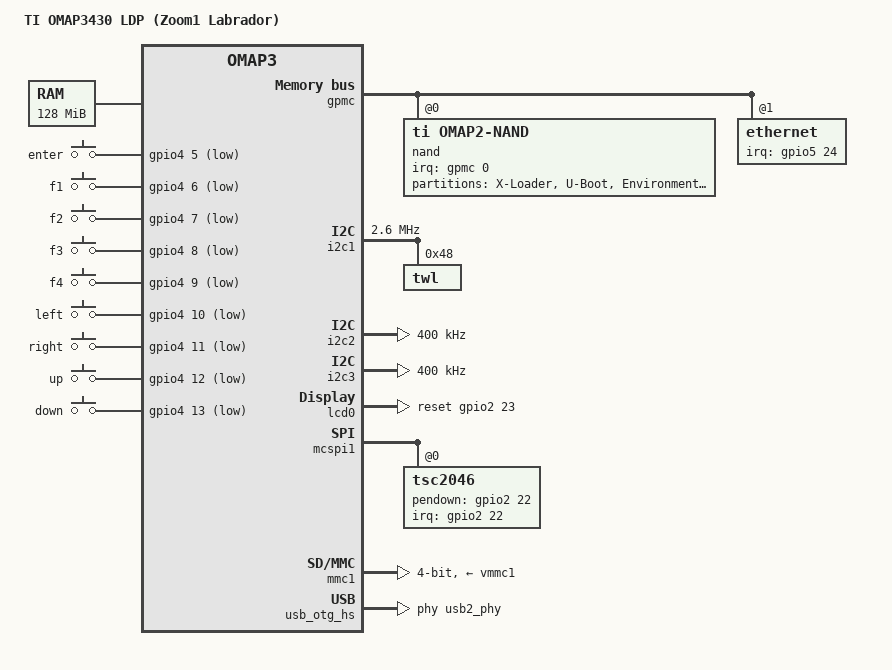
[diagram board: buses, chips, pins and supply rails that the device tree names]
// SPDX-License-Identifier: GPL-2.0-only
/*
 * Copyright (C) 2013 Texas Instruments Incorporated - https://www.ti.com/
 */
/dts-v1/;

#include <dt-bindings/input/input.h>
#include "omap34xx.dtsi"
#include "omap-gpmc-smsc911x.dtsi"

/ {
	model = "TI OMAP3430 LDP (Zoom1 Labrador)";
	compatible = "ti,omap3-ldp", "ti,omap3430", "ti,omap3";

	memory@80000000 {
		device_type = "memory";
		reg = <0x80000000 0x8000000>; /* 128 MB */
	};

	cpus {
		cpu@0 {
			cpu0-supply = <&vcc>;
		};
	};

	gpio_keys {
		compatible = "gpio-keys";
		pinctrl-names = "default";
		pinctrl-0 = <&gpio_key_pins>;

		key_enter {
			label = "enter";
			gpios = <&gpio4 5 GPIO_ACTIVE_LOW>; /* gpio101 */
			linux,code = <KEY_ENTER>;
			wakeup-source;
		};

		key_f1 {
			label = "f1";
			gpios = <&gpio4 6 GPIO_ACTIVE_LOW>; /* gpio102 */
			linux,code = <KEY_F1>;
			wakeup-source;
		};

		key_f2 {
			label = "f2";
			gpios = <&gpio4 7 GPIO_ACTIVE_LOW>; /* gpio103 */
			linux,code = <KEY_F2>;
			wakeup-source;
		};

		key_f3 {
			label = "f3";
			gpios = <&gpio4 8 GPIO_ACTIVE_LOW>; /* gpio104 */
			linux,code = <KEY_F3>;
			wakeup-source;
		};

		key_f4 {
			label = "f4";
			gpios = <&gpio4 9 GPIO_ACTIVE_LOW>; /* gpio105 */
			linux,code = <KEY_F4>;
			wakeup-source;
		};

		key_left {
			label = "left";
			gpios = <&gpio4 10 GPIO_ACTIVE_LOW>; /* gpio106 */
			linux,code = <KEY_LEFT>;
			wakeup-source;
		};

		key_right {
			label = "right";
			gpios = <&gpio4 11 GPIO_ACTIVE_LOW>; /* gpio107 */
			linux,code = <KEY_RIGHT>;
			wakeup-source;
		};

		key_up {
			label = "up";
			gpios = <&gpio4 12 GPIO_ACTIVE_LOW>; /* gpio108 */
			linux,code = <KEY_UP>;
			wakeup-source;
		};

		key_down {
			label = "down";
			gpios = <&gpio4 13 GPIO_ACTIVE_LOW>; /* gpio109 */
			linux,code = <KEY_DOWN>;
			wakeup-source;
		};
	};
};

&gpmc {
	ranges = <0 0 0x30000000 0x1000000>,	/* CS0 space, 16MB */
		 <1 0 0x08000000 0x1000000>;	/* CS1 space, 16MB */

	nand@0,0 {
		compatible = "ti,omap2-nand";
		reg = <0 0 4>; /* CS0, offset 0, IO size 4 */
		interrupt-parent = <&gpmc>;
		interrupts = <0 IRQ_TYPE_NONE>, /* fifoevent */
			     <1 IRQ_TYPE_NONE>;	/* termcount */
		linux,mtd-name = "micron,nand";
		nand-bus-width = <16>;
		gpmc,device-width = <2>;
		ti,nand-ecc-opt = "bch8";

		gpmc,sync-clk-ps = <0>;
		gpmc,cs-on-ns = <0>;
		gpmc,cs-rd-off-ns = <44>;
		gpmc,cs-wr-off-ns = <44>;
		gpmc,adv-on-ns = <6>;
		gpmc,adv-rd-off-ns = <34>;
		gpmc,adv-wr-off-ns = <44>;
		gpmc,we-off-ns = <40>;
		gpmc,oe-off-ns = <54>;
		gpmc,access-ns = <64>;
		gpmc,rd-cycle-ns = <82>;
		gpmc,wr-cycle-ns = <82>;
		gpmc,wr-access-ns = <40>;
		gpmc,wr-data-mux-bus-ns = <0>;

		#address-cells = <1>;
		#size-cells = <1>;

		partition@0 {
			label = "X-Loader";
			reg = <0 0x80000>;
		};
		partition@80000 {
			label = "U-Boot";
			reg = <0x80000 0x140000>;
		};
		partition@1c0000 {
			label = "Environment";
			reg = <0x1c0000 0x40000>;
		};
		partition@200000 {
			label = "Kernel";
			reg = <0x200000 0x1e00000>;
		};
		partition@2000000 {
			label = "Filesystem";
			reg = <0x2000000 0x6000000>;
		};
	};

	ethernet@gpmc {
		interrupt-parent = <&gpio5>;
		interrupts = <24 IRQ_TYPE_LEVEL_LOW>;
		reg = <1 0 0xff>;
	};
};

&i2c1 {
	clock-frequency = <2600000>;

	twl: twl@48 {
		reg = <0x48>;
		interrupts = <7>; /* SYS_NIRQ cascaded to intc */
		interrupt-parent = <&intc>;

		twl_power: power {
			compatible = "ti,twl4030-power-idle";
			ti,use_poweroff;
		};
	};
};

#include "twl4030.dtsi"
#include "twl4030_omap3.dtsi"
#include "omap3-panel-sharp-ls037v7dw01.dtsi"

&backlight0 {
	gpios = <&twl_gpio 7 GPIO_ACTIVE_HIGH>;
};

&i2c2 {
	clock-frequency = <400000>;
};

&i2c3 {
	clock-frequency = <400000>;
};

/* tps61130rsa enabled by twl4030 regen */
&lcd_3v3 {
	regulator-always-on;
};

&lcd0 {
	enable-gpios = <&twl_gpio 15 GPIO_ACTIVE_HIGH>;	/* lcd INI */
	reset-gpios = <&gpio2 23 GPIO_ACTIVE_HIGH>;	/* gpio55, lcd RESB */
	mode-gpios = <&gpio2 24 GPIO_ACTIVE_HIGH>;	/* gpio56, lcd MO */
};

&mcspi1 {
	tsc2046@0 {
		interrupt-parent = <&gpio2>;
		interrupts = <22 0>;		/* gpio54 */
		pendown-gpio = <&gpio2 22 GPIO_ACTIVE_HIGH>;
	};
};

&mmc1 {
	/* See 35xx errata 2.1.1.128 in SPRZ278F */
	compatible = "ti,omap3-pre-es3-hsmmc";
	vmmc-supply = <&vmmc1>;
	bus-width = <4>;
	pinctrl-names = "default";
	pinctrl-0 = <&mmc1_pins>;
};

&mmc2 {
	status = "disabled";
};

&mmc3 {
	status = "disabled";
};

&omap3_pmx_core {
	gpio_key_pins: gpio-key-pins {
		pinctrl-single,pins = <
			OMAP3_CORE1_IOPAD(0x211a, PIN_INPUT | MUX_MODE4)	/* cam_d2.gpio_101 */
			OMAP3_CORE1_IOPAD(0x211c, PIN_INPUT | MUX_MODE4)	/* cam_d3.gpio_102 */
			OMAP3_CORE1_IOPAD(0x211e, PIN_INPUT | MUX_MODE4)	/* cam_d4.gpio_103 */
			OMAP3_CORE1_IOPAD(0x2120, PIN_INPUT | MUX_MODE4)	/* cam_d5.gpio_104 */
			OMAP3_CORE1_IOPAD(0x2122, PIN_INPUT | MUX_MODE4)	/* cam_d6.gpio_105 */
			OMAP3_CORE1_IOPAD(0x2124, PIN_INPUT | MUX_MODE4)	/* cam_d7.gpio_106 */
			OMAP3_CORE1_IOPAD(0x2126, PIN_INPUT | MUX_MODE4)	/* cam_d8.gpio_107 */
			OMAP3_CORE1_IOPAD(0x2128, PIN_INPUT | MUX_MODE4)	/* cam_d9.gpio_108 */
			OMAP3_CORE1_IOPAD(0x212a, PIN_INPUT | MUX_MODE4)	/* cam_d10.gpio_109 */
		>;
	};

	musb_pins: musb-pins {
		pinctrl-single,pins = <
			OMAP3_CORE1_IOPAD(0x21a2, PIN_INPUT | MUX_MODE0)	/* hsusb0_clk.hsusb0_clk */
			OMAP3_CORE1_IOPAD(0x21aa, PIN_INPUT | MUX_MODE0)	/* hsusb0_data0.hsusb0_data0 */
			OMAP3_CORE1_IOPAD(0x21ac, PIN_INPUT | MUX_MODE0)	/* hsusb0_data1.hsusb0_data1 */
			OMAP3_CORE1_IOPAD(0x21ae, PIN_INPUT | MUX_MODE0)	/* hsusb0_data2.hsusb0_data2 */
			OMAP3_CORE1_IOPAD(0x21b0, PIN_INPUT | MUX_MODE0)	/* hsusb0_data3.hsusb0_data3 */
			OMAP3_CORE1_IOPAD(0x21b2, PIN_INPUT | MUX_MODE0)	/* hsusb0_data4.hsusb0_data4 */
			OMAP3_CORE1_IOPAD(0x21b4, PIN_INPUT | MUX_MODE0)	/* hsusb0_data5.hsusb0_data5 */
			OMAP3_CORE1_IOPAD(0x21b6, PIN_INPUT | MUX_MODE0)	/* hsusb0_data6.hsusb0_data6 */
			OMAP3_CORE1_IOPAD(0x21b8, PIN_INPUT | MUX_MODE0)	/* hsusb0_data7.hsusb0_data7 */
			OMAP3_CORE1_IOPAD(0x21a6, PIN_INPUT | MUX_MODE0)	/* hsusb0_dir.hsusb0_dir */
			OMAP3_CORE1_IOPAD(0x21a8, PIN_INPUT | MUX_MODE0)	/* hsusb0_nxt.hsusb0_nxt */
			OMAP3_CORE1_IOPAD(0x21a4, PIN_OUTPUT | MUX_MODE0)	/* hsusb0_stp.hsusb0_stp */
		>;
	};

	mmc1_pins: mmc1-pins {
		pinctrl-single,pins = <
			OMAP3_CORE1_IOPAD(0x2144, PIN_INPUT_PULLUP | MUX_MODE0)	/* mmc1_clk.mmc1_clk */
			OMAP3_CORE1_IOPAD(0x2146, PIN_INPUT_PULLUP | MUX_MODE0)	/* mmc1_cmd.mmc1_cmd */
			OMAP3_CORE1_IOPAD(0x2148, PIN_INPUT_PULLUP | MUX_MODE0)	/* mmc1_dat0.mmc1_dat0 */
			OMAP3_CORE1_IOPAD(0x214A, PIN_INPUT_PULLUP | MUX_MODE0)	/* mmc1_dat1.mmc1_dat1 */
			OMAP3_CORE1_IOPAD(0x214C, PIN_INPUT_PULLUP | MUX_MODE0)	/* mmc1_dat2.mmc1_dat2 */
			OMAP3_CORE1_IOPAD(0x214e, PIN_INPUT_PULLUP | MUX_MODE0)	/* mmc1_dat3.mmc1_dat3 */
		>;
	};
};

&twl_keypad {
	linux,keymap = <MATRIX_KEY(0, 0, KEY_1)
			MATRIX_KEY(0, 1, KEY_2)
			MATRIX_KEY(0, 2, KEY_3)
			MATRIX_KEY(1, 0, KEY_4)
			MATRIX_KEY(1, 1, KEY_5)
			MATRIX_KEY(1, 2, KEY_6)
			MATRIX_KEY(1, 3, KEY_F5)
			MATRIX_KEY(2, 0, KEY_7)
			MATRIX_KEY(2, 1, KEY_8)
			MATRIX_KEY(2, 2, KEY_9)
			MATRIX_KEY(2, 3, KEY_F6)
			MATRIX_KEY(3, 0, KEY_F7)
			MATRIX_KEY(3, 1, KEY_0)
			MATRIX_KEY(3, 2, KEY_F8)
			MATRIX_KEY(5, 4, KEY_RESERVED)
			MATRIX_KEY(4, 4, KEY_VOLUMEUP)
			MATRIX_KEY(5, 5, KEY_VOLUMEDOWN)>;
};

&uart3 {
	interrupts-extended = <&intc 74 &omap3_pmx_core OMAP3_UART3_RX>;
};

&usb_otg_hs {
	pinctrl-names = "default";
	pinctrl-0 = <&musb_pins>;
	interface-type = <0>;
	usb-phy = <&usb2_phy>;
	mode = <3>;
	power = <50>;
};

&vaux1 {
	/* Needed for ads7846 */
	regulator-name = "vcc";
};
